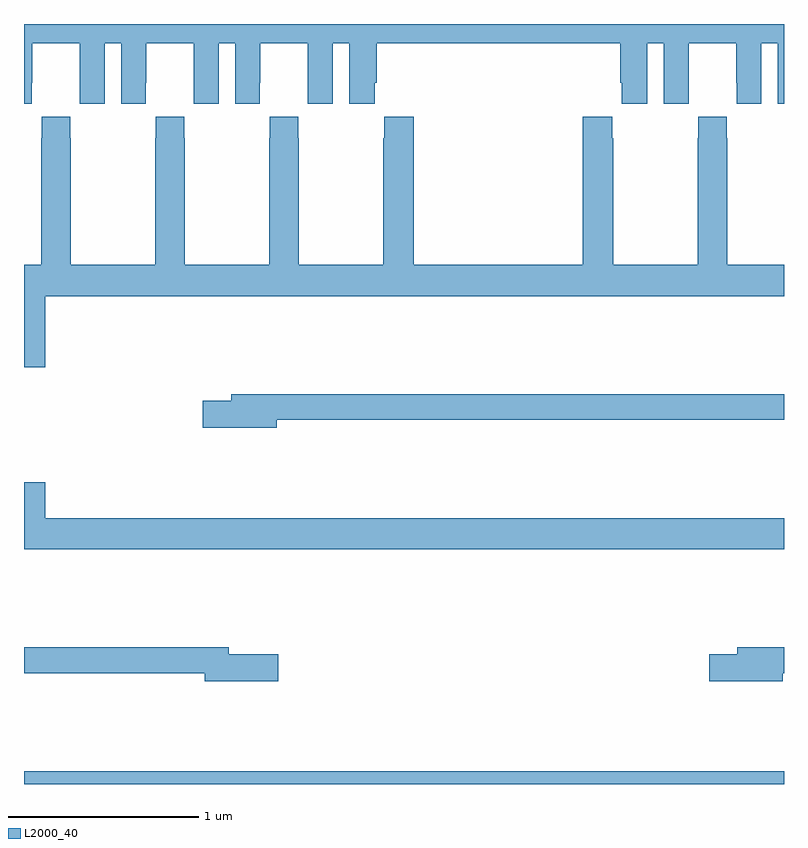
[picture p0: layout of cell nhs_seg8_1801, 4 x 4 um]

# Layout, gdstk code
import gdstk
lib = gdstk.Library(unit=1e-6, precision=1e-09)
def R(c, l, rs):  # rectangles x0, y0, x1, y1
    for r in rs: c.add(gdstk.rectangle(r[:2], r[2:], *l))
def P(c, l, *ps):  # polygons
    for p in ps: c.add(gdstk.Polygon(p, *l))
L2000_40 = (2000, 40)

nhs_seg8_1801 = lib.new_cell('nhs_seg8_1801')
R(nhs_seg8_1801, L2000_40, [(225,1145.9,229,1145.968)])
P(nhs_seg8_1801, L2000_40, [(228.137,1149.592),(228.146,1149.592),(228.146,1149.48),(228.28,1149.48),(228.28,1149.8),(228.368,1149.8),(228.368,1149.48),(228.498,1149.48),(228.498,1149.592),(228.499,1149.592),(228.499,1149.8),(228.749,1149.8),(228.749,1149.592),(228.75,1149.592),(228.75,1149.48),(228.88,1149.48),(228.88,1149.8),(228.968,1149.8),(228.968,1149.48),(229,1149.48),(229,1149.9),(225,1149.9),(225,1149.48),(225.042,1149.48),(225.042,1149.592),(225.043,1149.592),(225.043,1149.8),(225.293,1149.8),(225.293,1149.592),(225.294,1149.592),(225.294,1149.48),(225.424,1149.48),(225.424,1149.8),(225.512,1149.8),(225.512,1149.48),(225.642,1149.48),(225.642,1149.592),(225.643,1149.592),(225.643,1149.8),(225.893,1149.8),(225.893,1149.592),(225.894,1149.592),(225.894,1149.48),(226.024,1149.48),(226.024,1149.8),(226.112,1149.8),(226.112,1149.48),(226.242,1149.48),(226.242,1149.592),(226.243,1149.592),(226.243,1149.8),(226.493,1149.8),(226.493,1149.592),(226.494,1149.592),(226.494,1149.48),(226.624,1149.48),(226.624,1149.8),(226.712,1149.8),(226.712,1149.48),(226.846,1149.48),(226.846,1149.592),(226.856,1149.592),(226.856,1149.8),(228.137,1149.8)],
  [(225.112,1148.468),(229,1148.468),(229,1148.632),(228.702,1148.632),(228.702,1149.299),(228.699,1149.299),(228.699,1149.412),(228.549,1149.412),(228.549,1149.299),(228.547,1149.299),(228.547,1148.632),(228.102,1148.632),(228.102,1149.299),(228.095,1149.299),(228.095,1149.412),(227.942,1149.412),(227.942,1148.632),(227.051,1148.632),(227.051,1149.412),(226.897,1149.412),(226.897,1149.299),(226.891,1149.299),(226.891,1148.632),(226.446,1148.632),(226.446,1149.299),(226.443,1149.299),(226.443,1149.412),(226.293,1149.412),(226.293,1149.299),(226.291,1149.299),(226.291,1148.632),(225.846,1148.632),(225.846,1149.299),(225.843,1149.299),(225.843,1149.412),(225.693,1149.412),(225.693,1149.299),(225.691,1149.299),(225.691,1148.632),(225.246,1148.632),(225.246,1149.299),(225.243,1149.299),(225.243,1149.412),(225.093,1149.412),(225.093,1149.299),(225.091,1149.299),(225.091,1148.632),(225,1148.632),(225,1148.094),(225.112,1148.094)],
  [(226.33,1147.816),(229,1147.816),(229,1147.952),(226.091,1147.952),(226.091,1147.916),(225.942,1147.916),(225.942,1147.774),(226.33,1147.774)],
  [(229,1147.3),(225.112,1147.3),(225.112,1147.489),(225,1147.489),(225,1147.136),(229,1147.136)],
  [(226.339,1146.584),(226.078,1146.584),(226.078,1146.62),(225,1146.62),(225,1146.484),(225.95,1146.484),(225.95,1146.442),(226.339,1146.442)],
  [(228.994,1146.484),(229,1146.484),(229,1146.62),(228.755,1146.62),(228.755,1146.584),(228.606,1146.584),(228.606,1146.442),(228.994,1146.442)])

lib.write_gds('nhs_seg8_1801.gds')
